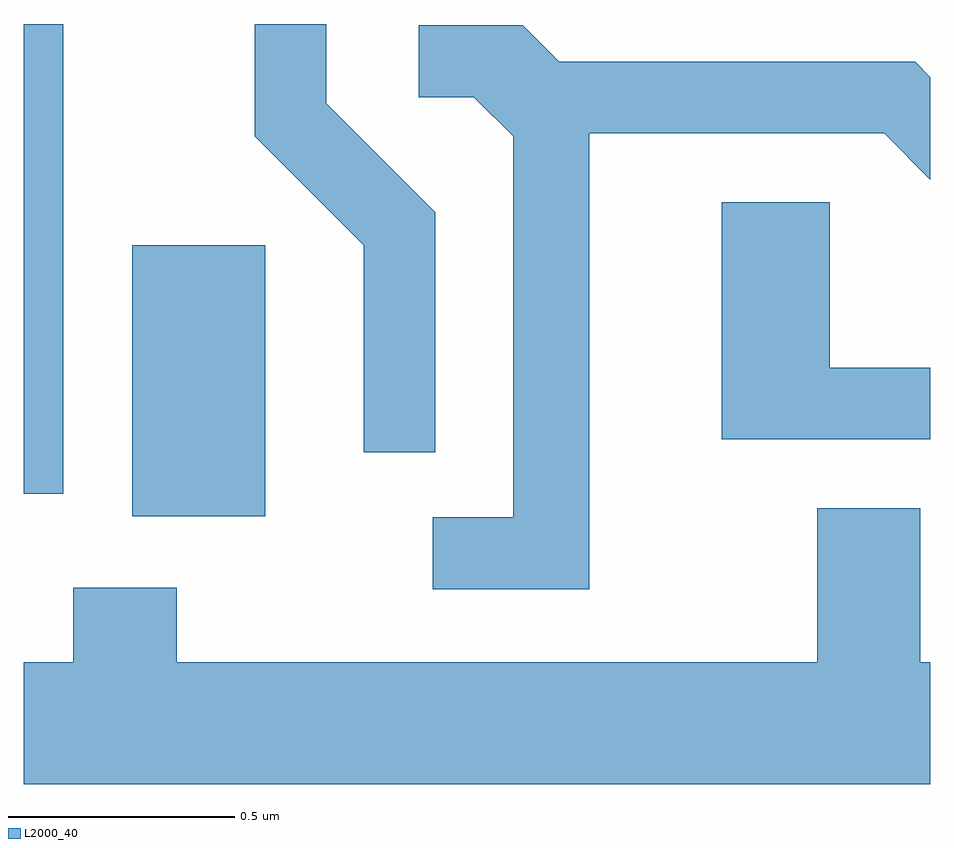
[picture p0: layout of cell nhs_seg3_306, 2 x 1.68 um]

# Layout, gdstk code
import gdstk
lib = gdstk.Library(unit=1e-6, precision=1e-09)
def R(c, l, rs):  # rectangles x0, y0, x1, y1
    for r in rs: c.add(gdstk.rectangle(r[:2], r[2:], *l))
def P(c, l, *ps):  # polygons
    for p in ps: c.add(gdstk.Polygon(p, *l))
L2000_40 = (2000, 40)

nhs_seg3_306 = lib.new_cell('nhs_seg3_306')
R(nhs_seg3_306, L2000_40, [(187.851,1148.806,188.144,1149.404), (187.611,1148.856,187.699,1149.892)])
P(nhs_seg3_306, L2000_40, [(188.519,1149.477),(188.279,1149.717),(188.279,1149.892),(188.121,1149.892),(188.121,1149.644),(188.361,1149.404),(188.361,1148.948),(188.519,1148.948)],
  [(188.859,1149.651),(189.509,1149.651),(189.611,1149.549),(189.611,1149.775),(189.577,1149.809),(188.792,1149.809),(188.712,1149.889),(188.483,1149.889),(188.483,1149.731),(188.604,1149.731),(188.691,1149.644),(188.691,1148.804),(188.513,1148.804),(188.513,1148.646),(188.859,1148.646)],
  [(189.611,1149.134),(189.389,1149.134),(189.389,1149.499),(189.151,1149.499),(189.151,1148.976),(189.611,1148.976)],
  [(189.611,1148.484),(189.589,1148.484),(189.589,1148.824),(189.361,1148.824),(189.361,1148.484),(187.949,1148.484),(187.949,1148.649),(187.721,1148.649),(187.721,1148.484),(187.611,1148.484),(187.611,1148.216),(189.611,1148.216)])

lib.write_gds('nhs_seg3_306.gds')
